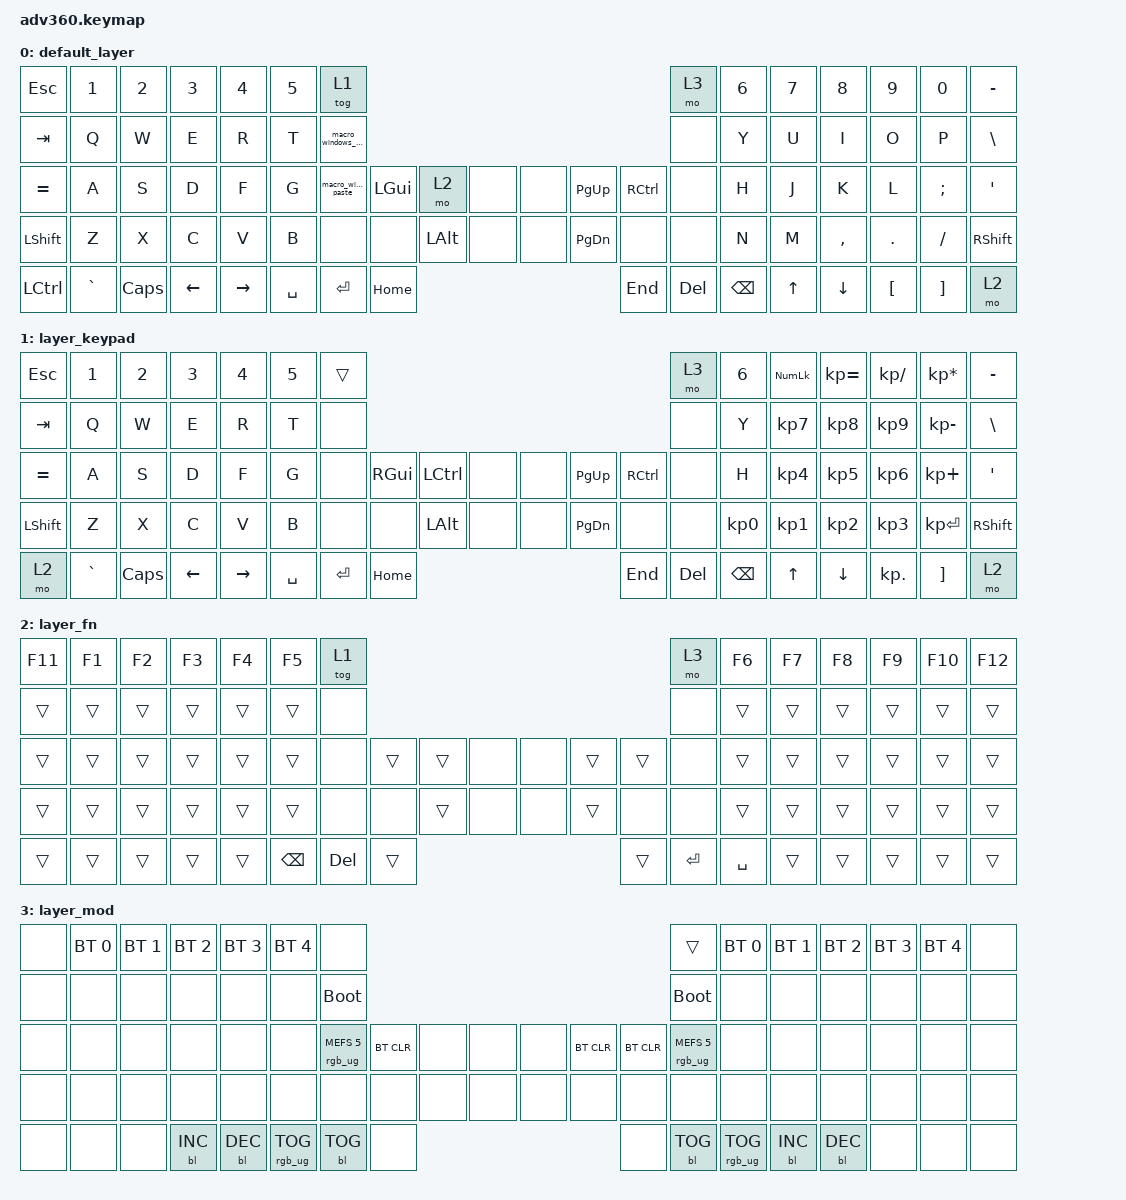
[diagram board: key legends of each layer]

/*
 * Copyright (c) 2020 The ZMK Contributors
 *
 * SPDX-License-Identifier: MIT
 */


/* THIS FILE WAS GENERATED!
 *
 * This file was generated automatically. You may or may not want to
 * edit it directly.
 */

#include <behaviors.dtsi>
#include <dt-bindings/zmk/keys.h>
#include <dt-bindings/zmk/bt.h>
#include <dt-bindings/zmk/rgb.h>
#include <dt-bindings/zmk/backlight.h>

/ {
  behaviors {
    #include "macros.dtsi"

    hm: homerow_mods {
        compatible = "zmk,behavior-hold-tap";
        label = "HOMEROW_MODS";
        #binding-cells = <2>;
        tapping-term-ms = <200>;
        quick_tap_ms = <175>;
        flavor = "tap-preferred";
        bindings = <&kp>, <&kp>;
    };
  };

    keymap {
        compatible = "zmk,keymap";


        default_layer {
            bindings = <
   &kp ESC     &kp N1    &kp N2    &kp N3     &kp N4  &kp N5                          &tog 1                                                                      &mo 3  &kp N6  &kp N7     &kp N8    &kp N9    &kp N0  &kp MINUS
   &kp TAB      &kp Q     &kp W     &kp E      &kp R   &kp T             &macro_windows_copy                                                                      &none   &kp Y   &kp U      &kp I     &kp O     &kp P   &kp BSLH
 &kp EQUAL      &kp A     &kp S     &kp D      &kp F   &kp G            &macro_windows_paste   &kp LGUI     &mo 2   &none   &none  &kp PG_UP   &kp RCTRL          &none   &kp H   &kp J      &kp K     &kp L  &kp SEMI    &kp SQT
 &kp LSHFT      &kp Z     &kp X     &kp C      &kp V   &kp B                           &none      &none  &kp LALT   &none   &none  &kp PG_DN       &none          &none   &kp N   &kp M  &kp COMMA   &kp DOT  &kp FSLH  &kp RSHFT
 &kp LCTRL  &kp GRAVE  &kp CAPS  &kp LEFT  &kp RIGHT                               &kp SPACE  &kp ENTER  &kp HOME                    &kp END  &kp DELETE  &kp BACKSPACE          &kp UP   &kp DOWN  &kp LBKT  &kp RBKT      &mo 2
            >;
        };

        layer_keypad {
            bindings = <
   &kp ESC     &kp N1    &kp N2    &kp N3     &kp N4  &kp N5               &trans                                                                       &mo 3     &kp N6  &kp KP_NUM  &kp KP_EQUAL  &kp KP_DIVIDE  &kp KP_MULTIPLY  &kp MINUS
   &kp TAB      &kp Q     &kp W     &kp E      &kp R   &kp T                &none                                                                       &none      &kp Y   &kp KP_N7     &kp KP_N8      &kp KP_N9     &kp KP_MINUS   &kp BSLH
 &kp EQUAL      &kp A     &kp S     &kp D      &kp F   &kp G                &none   &kp RGUI  &kp LCTRL   &none   &none  &kp PG_UP   &kp RCTRL          &none      &kp H   &kp KP_N4     &kp KP_N5      &kp KP_N6      &kp KP_PLUS    &kp SQT
 &kp LSHFT      &kp Z     &kp X     &kp C      &kp V   &kp B                &none      &none   &kp LALT   &none   &none  &kp PG_DN       &none          &none  &kp KP_N0   &kp KP_N1     &kp KP_N2      &kp KP_N3     &kp KP_ENTER  &kp RSHFT
     &mo 2  &kp GRAVE  &kp CAPS  &kp LEFT  &kp RIGHT                    &kp SPACE  &kp ENTER   &kp HOME                    &kp END  &kp DELETE  &kp BACKSPACE                 &kp UP      &kp DOWN     &kp KP_DOT         &kp RBKT      &mo 2
            >;
        };

        layer_fn {
            bindings = <
 &kp F11  &kp F1  &kp F2  &kp F3  &kp F4  &kp F5                   &tog 1                                                             &mo 3  &kp F6  &kp F7  &kp F8  &kp F9  &kp F10  &kp F12
  &trans  &trans  &trans  &trans  &trans  &trans                    &none                                                             &none  &trans  &trans  &trans  &trans   &trans   &trans
  &trans  &trans  &trans  &trans  &trans  &trans                    &none      &trans  &trans   &none   &none  &trans     &trans      &none  &trans  &trans  &trans  &trans   &trans   &trans
  &trans  &trans  &trans  &trans  &trans  &trans                    &none       &none  &trans   &none   &none  &trans      &none      &none  &trans  &trans  &trans  &trans   &trans   &trans
  &trans  &trans  &trans  &trans  &trans                    &kp BACKSPACE  &kp DELETE  &trans                  &trans  &kp ENTER  &kp SPACE          &trans  &trans  &trans   &trans   &trans
            >;
        };

        layer_mod {
            bindings = <
  &none  &bt BT_SEL 0  &bt BT_SEL 1  &bt BT_SEL 2  &bt BT_SEL 3  &bt BT_SEL 4                             &none                                                                              &trans  &bt BT_SEL 0  &bt BT_SEL 1  &bt BT_SEL 2  &bt BT_SEL 3  &bt BT_SEL 4   &none
  &none         &none         &none         &none         &none         &none                       &bootloader                                                                         &bootloader         &none         &none         &none         &none         &none   &none
  &none         &none         &none         &none         &none         &none            &rgb_ug RGB_MEFS_CMD 5  &bt BT_CLR   &none   &none   &none  &bt BT_CLR  &bt BT_CLR  &rgb_ug RGB_MEFS_CMD 5         &none         &none         &none         &none         &none   &none
  &none         &none         &none         &none         &none         &none                             &none       &none   &none   &none   &none       &none       &none                   &none         &none         &none         &none         &none         &none   &none
  &none         &none         &none    &bl BL_INC    &bl BL_DEC                                 &rgb_ug RGB_TOG  &bl BL_TOG   &none                       &none  &bl BL_TOG         &rgb_ug RGB_TOG                  &bl BL_INC    &bl BL_DEC         &none         &none   &none
            >;
        };

    };
};
